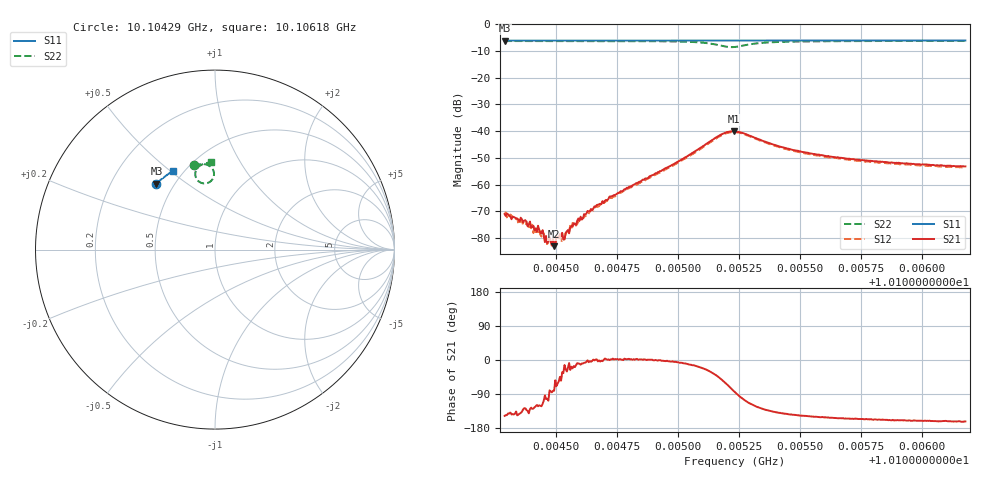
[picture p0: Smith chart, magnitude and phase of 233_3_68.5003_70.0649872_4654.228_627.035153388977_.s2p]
#  HZ  S  RI  R  50.00
! Rohde & Schwarz Vector Network Analyzer
! Rohde-Schwarz,ZNB20-2Port,1311601062101988,3.16
! Created: UTC 3/20/2024, 5:14:09 PM
! freq[Hz]  re:S11  im:S11  re:S21  im:S21  re:S12  im:S12  re:S22  im:S22
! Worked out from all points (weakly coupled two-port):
!   401 points, 10.10429 GHz to 10.10618 GHz, reference 50 ohm
!   highest |S21| = -40.02 dB at 10.10523 GHz (marker M1); lowest = -83.0 dB at 10.10449 GHz (marker M2)
!   lowest |S11| = -6.2 dB at 10.10429 GHz (marker M3), VSWR 2.93, Z = 20 + j19.4 ohm
!   |S11| at or under -10 dB: nowhere
!   |S22| runs from -8.6 to -6.3 dB; largest |S21 - S12| = 0.0011
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1.0104291e10  -0.3265 0.3674  -0.000238 -0.000152  -0.000213 -0.000208  -0.1182 0.4691
1.0104367e10  -0.3232 0.3707  -0.000127 -0.000148  -0.000122 -0.000129  -0.1125 0.4706
1.0104414e10  -0.321 0.3727  -7.97e-05 -0.000115  -0.000107 -0.000124  -0.1089 0.4716
1.0104437e10  -0.3201 0.3735  -6.46e-05 -0.000108  -4.94e-05 -0.000105  -0.1071 0.472
1.0104461e10  -0.319 0.3745  -2.49e-05 -0.000107  -1.67e-05 -0.000106  -0.1052 0.4724
1.0104494e10  -0.3174 0.3761  1.12e-05 -6.99e-05  5.03e-06 -7.97e-05  -0.1025 0.473
1.0104527e10  -0.3159 0.3773  0.000106 -6.71e-05  7.11e-05 -5.21e-05  -0.0999 0.4736
1.0104541e10  -0.3153 0.3779  0.000113 -5.11e-05  0.000108 -5.84e-05  -0.0987 0.4739
1.0104565e10  -0.3142 0.3788  0.000161 -5.1e-05  0.000146 -3.47e-05  -0.0968 0.4742
1.0104607e10  -0.3124 0.3806  0.000219 -3.57e-05  0.000234 -2.57e-05  -0.0932 0.4748
1.0104626e10  -0.3116 0.3812  0.000286 -2.47e-05  0.000258 8.24e-06  -0.0914 0.475
1.0104659e10  -0.31 0.3828  0.000393 -6.02e-06  0.00037 9.04e-06  -0.0884 0.4757
1.010473e10  -0.3067 0.3854  0.000606 1.27e-05  0.000556 7.94e-05  -0.0814 0.4763
1.0104923e10  -0.2977 0.3933  0.00173 -1.48e-05  0.00167 0.000119  -0.0567 0.476
1.0105173e10  -0.2855 0.4021  0.00565 -0.00626  0.006 -0.00542  -0.00917 0.4011
1.0105229e10  -0.2831 0.4039  0.00137 -0.00988  0.00228 -0.00935  -0.0613 0.3684
1.0105234e10  -0.2829 0.4041  0.000834 -0.00989  0.00182 -0.00945  -0.0668 0.3692
1.01053e10  -0.28 0.4064  -0.00359 -0.00718  -0.00286 -0.00729  -0.1088 0.4098
1.0105418e10  -0.2745 0.4111  -0.00392 -0.00336  -0.0035 -0.00357  -0.097 0.4559
1.010555e10  -0.2679 0.4159  -0.00326 -0.00194  -0.00297 -0.00216  -0.0777 0.4715
1.0105866e10  -0.2518 0.4267  -0.0024 -0.000954  -0.00224 -0.00117  -0.0461 0.4825
1.0106177e10  -0.2359 0.4367  -0.00209 -0.000675  -0.00192 -0.000781  -0.0218 0.4862
